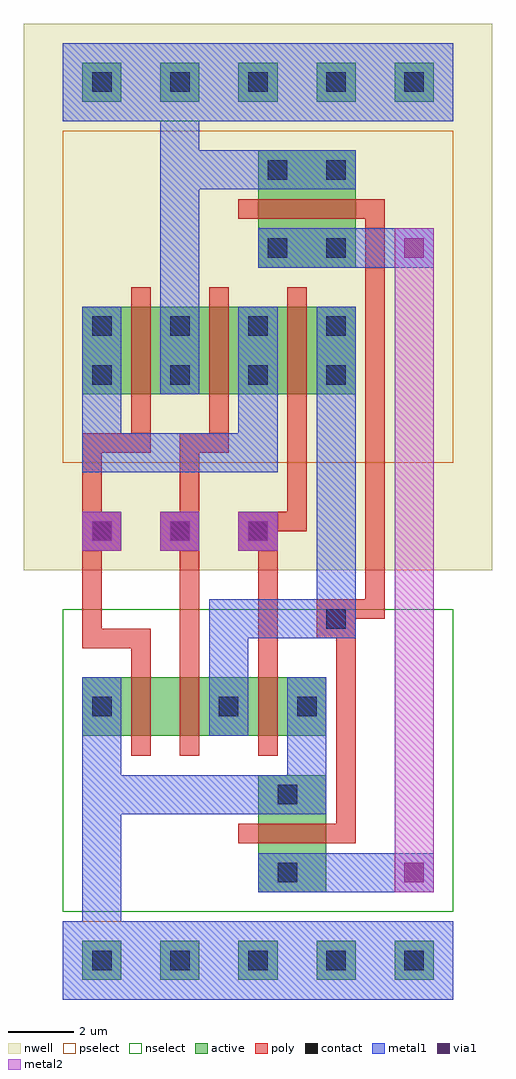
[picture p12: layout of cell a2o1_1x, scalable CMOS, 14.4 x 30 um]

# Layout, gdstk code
import gdstk
lib = gdstk.Library(unit=1e-6, precision=1e-09)
def R(c, l, rs):  # rectangles x0, y0, x1, y1
    for r in rs: c.add(gdstk.rectangle(r[:2], r[2:], *l))
def A(c, l, x, y, w, h, nx, ny, dx, dy):  # array of equal rectangles
    R(c, l, [(x+i*dx, y+j*dy, x+i*dx+w, y+j*dy+h) for i in range(nx) for j in range(ny)])
contact = (25, 0)
nwell = (42, 0)
active = (43, 0)
pselect = (44, 0)
nselect = (45, 0)
poly = (46, 0)
metal1 = (49, 0)
via1 = (50, 0)
metal2 = (51, 0)

a2o1_1x = lib.new_cell('a2o1_1x')
A(a2o1_1x, contact, 0.9, -0.3, 0.6, 0.6, 5, 2, 2.4, 27)
A(a2o1_1x, contact, 0.9, 12.9, 0.6, 0.6, 3, 1, 2.4, 0)
A(a2o1_1x, contact, 0.9, 17.7, 0.6, 0.6, 4, 2, 2.4, 1.5)
R(a2o1_1x, contact, [(6.6,2.4,7.2,3), (6.6,4.8,7.2,5.4), (0.9,7.5,1.5,8.1), (4.8,7.5,5.4,8.1), (7.2,7.5,7.8,8.1), (8.1,10.2,8.7,10.8), (6.3,21.6,6.9,22.2), (8.1,21.6,8.7,22.2), (6.3,24,6.9,24.6), (8.1,24,8.7,24.6)])
R(a2o1_1x, nwell, [(-1.2,12,13.2,28.8)])
A(a2o1_1x, active, 0.6, -0.6, 1.2, 1.2, 5, 2, 2.4, 27)
R(a2o1_1x, active, [(6,2.1,8.1,5.7), (0.6,6.9,8.1,8.7), (0.6,17.4,9,20.1), (6,21.3,9,24.9)])
R(a2o1_1x, pselect, [(0,-1.2,12,1.2), (0,15.3,12,25.5)])
R(a2o1_1x, nselect, [(0,1.5,12,10.8), (0,25.8,12,28.2)])
A(a2o1_1x, poly, 0.6, 12.6, 1.2, 1.2, 3, 1, 2.4, 0)
R(a2o1_1x, poly, [(5.4,3.6,9,4.2), (8.4,3.6,9,10.2), (2.1,6.3,2.7,9.6), (3.6,6.3,4.2,15.6), (6,6.3,6.6,13.8), (0.6,9.6,2.7,10.2), (7.8,9.9,9,11.1), (0.6,10.2,1.2,15.6), (9,10.5,9.9,11.1), (9.3,10.5,9.9,23.4), (3.6,12.9,4.2,13.8), (6,13.2,7.5,13.8), (6.9,13.2,7.5,20.7), (0.6,15.6,2.7,16.2), (2.1,15.6,2.7,20.7), (3.6,15.6,5.1,16.2), (4.5,15.6,5.1,20.7), (5.4,22.8,9.9,23.4)])
A(a2o1_1x, metal1, 0.6, 12.6, 1.2, 1.2, 3, 1, 2.4, 0)
R(a2o1_1x, metal1, [(0,-1.2,12,1.2), (0.6,1.2,1.8,8.7), (6,2.1,11.4,3.3), (1.8,4.5,8.1,5.7), (6.9,5.7,8.1,8.7), (4.5,6.9,5.7,9.9), (4.5,9.9,9,11.1), (7.8,9.9,9,20.1), (0.6,15,1.8,20.1), (0.6,15,6.6,16.2), (5.4,15,6.6,20.1), (3,17.4,4.2,20.1), (3,20.1,4.2,26.4), (6,21.3,11.4,22.5), (4.2,23.7,9,24.9), (0,25.8,12,28.2)])
A(a2o1_1x, via1, 0.9, 12.9, 0.6, 0.6, 3, 1, 2.4, 0)
R(a2o1_1x, via1, [(10.5,2.4,11.1,3), (10.5,21.6,11.1,22.2)])
A(a2o1_1x, metal2, 0.6, 12.6, 1.2, 1.2, 3, 1, 2.4, 0)
R(a2o1_1x, metal2, [(10.2,2.1,11.4,22.5), (10.2,12.6,11.4,13.8)])

lib.write_gds('a2o1_1x.gds')
